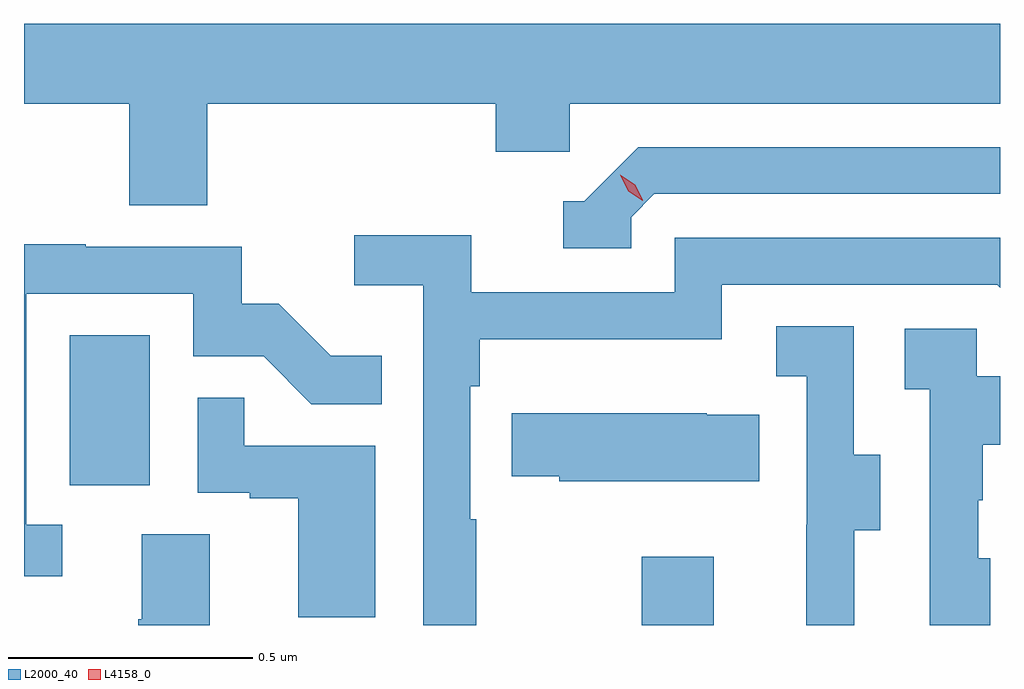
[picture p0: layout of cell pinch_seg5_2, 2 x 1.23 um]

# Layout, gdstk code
import gdstk
lib = gdstk.Library(unit=1e-6, precision=1e-09)
def R(c, l, rs):  # rectangles x0, y0, x1, y1
    for r in rs: c.add(gdstk.rectangle(r[:2], r[2:], *l))
def P(c, l, *ps):  # polygons
    for p in ps: c.add(gdstk.Polygon(p, *l))
L2000_40 = (2000, 40)
L4158_0 = (4158, 0)

pinch_seg5_2 = lib.new_cell('pinch_seg5_2')
R(pinch_seg5_2, L2000_40, [(1079.134,899.647,1079.281,899.788), (1077.962,899.934,1078.126,900.241)])
P(pinch_seg5_2, L2000_40, [(1078.244,900.716),(1078.835,900.716),(1078.835,900.618),(1078.986,900.618),(1078.986,900.716),(1079.868,900.716),(1079.868,900.88),(1077.868,900.88),(1077.868,900.716),(1078.084,900.716),(1078.084,900.508),(1078.244,900.508)],
  [(1079.112,900.483),(1079.16,900.531),(1079.868,900.531),(1079.868,900.627),(1079.127,900.627),(1079.016,900.516),(1078.973,900.516),(1078.973,900.42),(1079.112,900.42)],
  [(1078.795,899.864),(1078.782,899.864),(1078.782,900.137),(1078.802,900.137),(1078.802,900.233),(1079.298,900.233),(1079.298,900.345),(1079.862,900.345),(1079.868,900.339),(1079.868,900.441),(1079.202,900.441),(1079.202,900.33),(1078.784,900.33),(1078.784,900.446),(1078.545,900.446),(1078.545,900.344),(1078.686,900.344),(1078.686,899.647),(1078.795,899.647)],
  [(1077.946,899.853),(1077.873,899.853),(1077.873,900.327),(1078.215,900.327),(1078.215,900.198),(1078.359,900.198),(1078.457,900.1),(1078.601,900.1),(1078.601,900.199),(1078.497,900.199),(1078.39,900.306),(1078.314,900.306),(1078.314,900.423),(1077.995,900.423),(1077.995,900.428),(1077.868,900.428),(1077.868,899.748),(1077.946,899.748)],
  [(1079.569,899.842),(1079.623,899.842),(1079.623,899.997),(1079.568,899.997),(1079.568,900.26),(1079.409,900.26),(1079.409,900.157),(1079.472,900.157),(1079.472,899.853),(1079.471,899.853),(1079.471,899.647),(1079.569,899.647)],
  [(1079.848,899.784),(1079.823,899.784),(1079.823,899.903),(1079.833,899.903),(1079.833,900.017),(1079.868,900.017),(1079.868,900.157),(1079.82,900.157),(1079.82,900.255),(1079.673,900.255),(1079.673,900.131),(1079.724,900.131),(1079.724,899.647),(1079.848,899.647)],
  [(1078.588,900.015),(1078.319,900.015),(1078.319,900.113),(1078.224,900.113),(1078.224,899.919),(1078.331,899.919),(1078.331,899.907),(1078.43,899.907),(1078.43,899.664),(1078.588,899.664)],
  [(1079.375,900.079),(1079.267,900.079),(1079.267,900.082),(1078.867,900.082),(1078.867,899.953),(1078.965,899.953),(1078.965,899.942),(1079.375,899.942)],
  [(1078.249,899.834),(1078.109,899.834),(1078.109,899.66),(1078.102,899.66),(1078.102,899.647),(1078.249,899.647)])
P(pinch_seg5_2, L4158_0, [(1079.136,900.517),(1079.106,900.537),(1079.09,900.57),(1079.09,900.57),(1079.09,900.57),(1079.121,900.55),(1079.136,900.518),(1079.136,900.517)])

lib.write_gds('pinch_seg5_2.gds')
